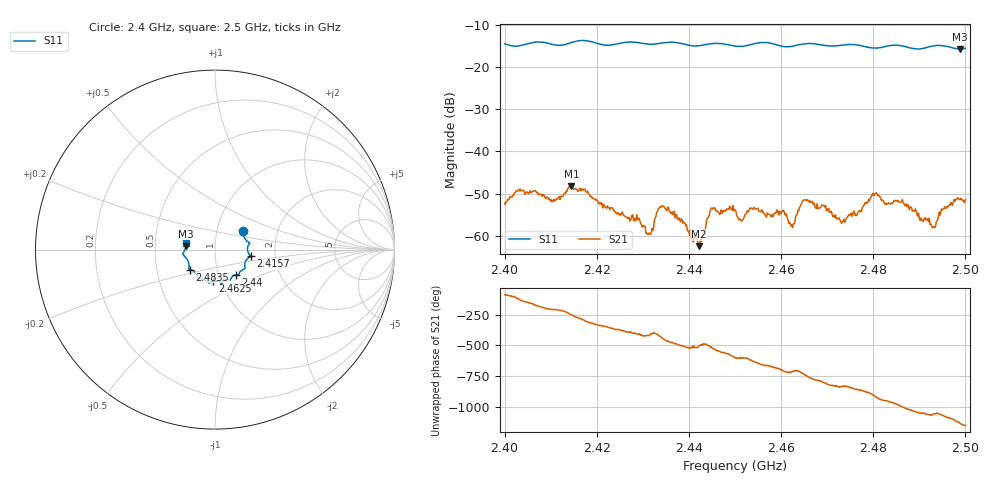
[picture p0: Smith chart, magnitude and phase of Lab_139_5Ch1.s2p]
# Hz S RI R 50
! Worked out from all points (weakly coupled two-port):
!   601 points, 2.4 GHz to 2.5 GHz, reference 50 ohm
!   highest |S21| = -48.22 dB at 2.4145 GHz (marker M1); lowest = -62.4 dB at 2.4422 GHz (marker M2)
!   lowest |S11| = -15.7 dB at 2.4988 GHz (marker M3), VSWR 1.39, Z = 36 + j1.39 ohm
!   |S11| at or under -10 dB: start of sweep to end of sweep
!   S12 and S22 are empty: the file has one direction only
!   S11 on the Smith chart (normalised r, x): 2.4 GHz: 1.34, +0.29; 2.4157 GHz: 1.49, -0.12; 2.44 GHz: 1.21, -0.35; 2.4625 GHz: 0.92, -0.34; 2.4835 GHz: 0.74, -0.17; 2.5 GHz: 0.72, +0.06
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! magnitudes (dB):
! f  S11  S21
! 2.4 GHz  -14.5  -52.2
! 2.4105 GHz  -14.7  -51.8
! 2.4145 GHz  -14.2  -48.2
! 2.4157 GHz  -13.8  -48.9
! 2.4167 GHz  -13.7  -48.8
! 2.4312 GHz  -14.6  -59.6
! 2.4333 GHz  -14.4  -53.5
! 2.44 GHz  -14.8  -59.2
! 2.4422 GHz  -14.9  -62.4
! 2.4452 GHz  -14.4  -53.6
! 2.45 GHz  -15.0  -53.8
! 2.4602 GHz  -15.1  -54.1
! 2.4625 GHz  -15.0  -58.0
! 2.4648 GHz  -14.5  -51.6
! 2.4667 GHz  -14.4  -51.9
! 2.4733 GHz  -14.8  -56.7
! 2.4802 GHz  -15.5  -50.5
! 2.4833 GHz  -15.0  -52.1
! 2.4835 GHz  -14.9  -52.4
! 2.493 GHz  -15.0  -57.9
! 2.4988 GHz  -15.7  -51.4
! 2.5 GHz  -15.6  -51.4
